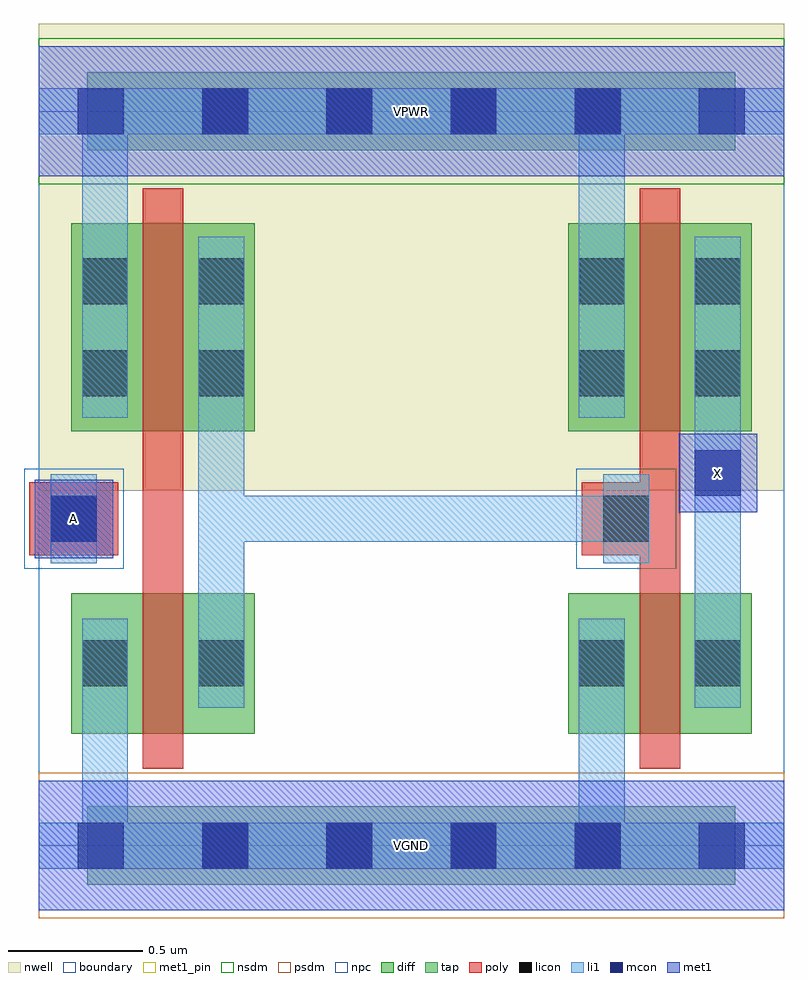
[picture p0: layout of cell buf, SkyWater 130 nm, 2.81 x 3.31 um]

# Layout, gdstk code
import gdstk
lib = gdstk.Library(unit=1e-6, precision=1e-09)
def R(c, l, rs):  # rectangles x0, y0, x1, y1
    for r in rs: c.add(gdstk.rectangle(r[:2], r[2:], *l))
def A(c, l, x, y, w, h, nx, ny, dx, dy):  # array of equal rectangles
    R(c, l, [(x+i*dx, y+j*dy, x+i*dx+w, y+j*dy+h) for i in range(nx) for j in range(ny)])
nwell = (64, 20)
diff = (65, 20)
tap = (65, 44)
poly = (66, 20)
licon = (66, 44)
li1 = (67, 20)
mcon = (67, 44)
met1_pin = (68, 16)
met1 = (68, 20)
nsdm = (93, 44)
psdm = (94, 20)
npc = (95, 20)
boundary = (235, 4)

buf = lib.new_cell('buf')
R(buf, nwell, [(0,1.315,2.76,3.045)])
R(buf, diff, [(0.12,0.415,0.8,0.935), (1.96,0.415,2.64,0.935), (0.12,1.535,0.8,2.305), (1.96,1.535,2.64,2.305)])
R(buf, tap, [(0.18,-0.145,2.58,0.145), (0.18,2.575,2.58,2.865)])
R(buf, poly, [(0.385,0.285,0.535,2.435), (2.225,0.285,2.375,2.435), (-0.035,1.075,0.295,1.345), (2.01,1.075,2.34,1.345)])
A(buf, licon, 0.605, -0.085, 0.17, 0.17, 4, 2, 0.46, 2.72)
R(buf, licon, [(0.16,0.59,0.33,0.76), (0.59,0.59,0.76,0.76), (2,0.59,2.17,0.76), (2.43,0.59,2.6,0.76), (0.045,1.125,0.215,1.295), (2.09,1.125,2.26,1.295), (0.16,1.665,0.33,1.835), (0.59,1.665,0.76,1.835), (2,1.665,2.17,1.835), (2.43,1.665,2.6,1.835), (0.16,2.005,0.33,2.175), (0.59,2.005,0.76,2.175), (2,2.005,2.17,2.175), (2.43,2.005,2.6,2.175)])
R(buf, li1, [(0,-0.085,2.76,0.085), (0.16,-0.085,0.33,0.84), (2,-0.085,2.17,0.84), (0.16,0.51,0.33,0.84), (0.59,0.51,0.76,0.84), (0.59,0.51,0.76,2.255), (2,0.51,2.17,0.84), (2.43,0.51,2.6,0.84), (2.43,0.51,2.6,2.255), (0.045,1.045,0.215,1.375), (2.09,1.045,2.26,1.375), (0.59,1.125,2.26,1.295), (0.16,1.585,0.33,2.255), (0.16,1.585,0.33,2.805), (0.59,1.585,0.76,2.255), (2,1.585,2.17,2.255), (2,1.585,2.17,2.805), (2.43,1.585,2.6,2.255), (0,2.635,2.76,2.805)])
A(buf, mcon, 0.145, -0.085, 0.17, 0.17, 6, 2, 0.46, 2.72)
R(buf, mcon, [(0.045,1.125,0.215,1.295), (2.43,1.295,2.6,1.465)])
R(buf, met1_pin, [(0,-0.24,2.76,0.24), (-0.015,1.065,0.275,1.355), (2.37,1.235,2.66,1.525), (0,2.48,2.76,2.96)])
R(buf, met1, [(0,-0.24,2.76,0.24), (-0.015,1.065,0.275,1.355), (2.37,1.235,2.66,1.525), (0,2.48,2.76,2.96)])
R(buf, nsdm, [(0,2.45,2.76,2.99)])
R(buf, psdm, [(0,-0.27,2.76,0.27)])
R(buf, npc, [(-0.055,1.025,0.315,1.395), (1.99,1.025,2.36,1.395)])
R(buf, boundary, [(0,0,2.76,2.72)])
buf.add(gdstk.Label('A', (0.13,1.21), layer=68, texttype=5))
buf.add(gdstk.Label('X', (2.515,1.38), layer=68, texttype=5))
buf.add(gdstk.Label('VPWR', (1.38,2.72), layer=68, texttype=5))
buf.add(gdstk.Label('VGND', (1.38,0), layer=68, texttype=5))
buf.add(gdstk.Label('A', (0.13,1.21), layer=68, texttype=16))
buf.add(gdstk.Label('X', (2.515,1.38), layer=68, texttype=16))
buf.add(gdstk.Label('VPWR', (1.38,2.72), layer=68, texttype=16))
buf.add(gdstk.Label('VGND', (1.38,0), layer=68, texttype=16))

lib.write_gds('buf.gds')
